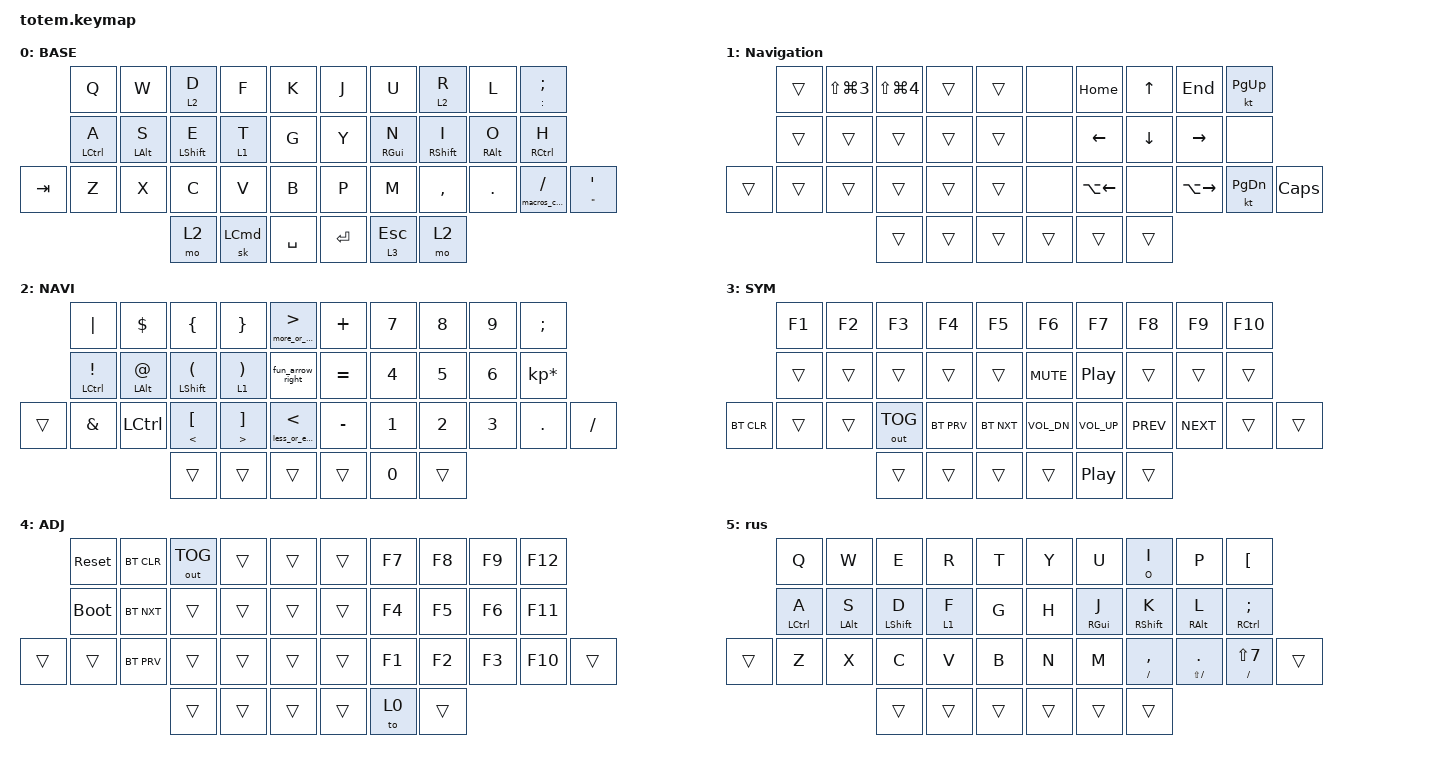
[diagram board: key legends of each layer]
//
//                                                        ▀▀▀▀▀     ▀▀▀▀▀          ▀▀█▀▀
//                                                        ▄▀▀▀▄  ▄  ▄▀▀▀▄  ▄  ▄▀▀▀▄  █  ▄▀▀▀▄
//                                                        █   █  █  █   █  █  █   █  █  █   █
//                                                         ▀▀▀   █   ▀▀▀   █   ▀▀▀   ▀   ▀▀▀
//                                                               █      ▄▄▄█▄▄▄    █   █  
//                                                               ▀      █  █  █     █▄█
//                                                             ▀▀▀▀▀    █  █  █      ▀
//                                                                      ▀  ▀  ▀
//
// ▄▄▄▄▄▄▄▄▄▄▄▄▄▄▄▄▄▄▄▄▄▄▄▄▄▄▄▄▄▄▄▄▄▄▄▄▄▄▄▄▄▄▄▄▄▄▄▄▄▄▄▄▄▄▄▄▄▄▄▄▄▄▄▄▄▄▄▄▄▄▄▄▄▄▄▄▄▄▄▄▄▄▄▄▄▄▄▄▄▄▄▄▄▄▄▄▄▄▄▄▄▄▄▄▄▄▄▄▄▄▄▄▄▄▄▄▄▄▄▄▄▄▄▄▄▄▄▄▄▄▄▄▄▄▄▄▄▄▄▄▄▄▄▄▄▄▄▄▄

#include <behaviors.dtsi>
#include <dt-bindings/zmk/bt.h>
#include <dt-bindings/zmk/keys.h>
#include <dt-bindings/zmk/keys.h>
#include <dt-bindings/zmk/outputs.h>

#define BASE 0
#define NAV  1
#define SYM  2
#define ADJ  3
#define TVP1 4
#define TVP2 5

&mt {
    quick-tap-ms = <100>;
    global-quick-tap;
    flavor = "tap-preferred";
    tapping-term-ms = <170>;
};

/ {
    combos {
        compatible = "zmk,combos";

        combo_esc {
            timeout-ms = <80>;
            key-positions = <0 1>;
            bindings = <&to 4>;
        };

        backspace {
            bindings = <&kp BACKSPACE>;
            key-positions = <16 17>;
            timeout-ms = <70>;
        };

        opt_backspace {
            bindings = <&kp LA(BACKSPACE)>;
            key-positions = <16 17 18>;
            timeout-ms = <70>;
        };

        shift {
            bindings = <&sk LEFT_SHIFT>;
            key-positions = <13 12>;
            timeout-ms = <100>;
        };

        toControl {
            bindings = <&tog 5>;
            key-positions = <32 37>;
        };
    };

    macros {
        more_or_equal: more_or_equal {
            compatible = "zmk,behavior-macro";
            #binding-cells = <0>;
            bindings = <&kp MINUS &kp GT>;
            label = "MORE_OR_EQUAL";
        };

        less_or_equal: less_or_equal {
            compatible = "zmk,behavior-macro";
            #binding-cells = <0>;
            bindings = <&kp LT &kp EQUAL>;
            label = "LESS_OR_EQUAL";
        };

        fun_arrow_right: fun_arrow_right {
            compatible = "zmk,behavior-macro";
            #binding-cells = <0>;
            bindings = <&kp MINUS &kp GT>;
            label = "FUN_ARROW_RIGHT";
        };

        macros_comment: macros_comment {
            compatible = "zmk,behavior-macro";
            #binding-cells = <0>;
            bindings = <&kp FSLH &kp STAR>;
            label = "MACROS_COMMENT";
        };
    };

    behaviors {
        hml: hml {
            compatible = "zmk,behavior-hold-tap";
            label = "HML";
            bindings = <&kp>, <&kp>;

            #binding-cells = <2>;
            tapping-term-ms = <280>;
            quick-tap-ms = <175>;
            require-prior-idle-ms = <150>;
            flavor = "balanced";
            hold-trigger-key-positions = <32 33 34>;
            hold-trigger-on-release;
        };

        hmr: hmr {
            compatible = "zmk,behavior-hold-tap";
            label = "HMR";
            bindings = <&kp>, <&kp>;

            #binding-cells = <2>;
            tapping-term-ms = <280>;
            quick-tap-ms = <175>;
            require-prior-idle-ms = <150>;
            flavor = "balanced";
            hold-trigger-key-positions = <35 36 37>;
            hold-trigger-on-release;
        };

        behavior_slash_or_comment: behavior_slash_or_comment {
            compatible = "zmk,behavior-hold-tap";
            label = "BEHAVIOR_SLASH_OR_COMMENT";
            bindings = <&macros_comment>, <&kp>;

            #binding-cells = <2>;
            tapping-term-ms = <200>;
            flavor = "tap-preferred";
        };

        greater_or_greater_or_equal: greater_or_greater_or_equal {
            compatible = "zmk,behavior-hold-tap";
            label = "GREATER_OR_GREATER_OR_EQUAL";
            bindings = <&more_or_equal>, <&kp>;

            #binding-cells = <2>;
            tapping-term-ms = <200>;
            flavor = "balanced";
        };

        less_or_less_or_equal: less_or_less_or_equal {
            compatible = "zmk,behavior-hold-tap";
            label = "LESS_OR_LESS_OR_EQUAL";
            bindings = <&less_or_equal>, <&kp>;

            #binding-cells = <2>;
            tapping-term-ms = <200>;
            flavor = "balanced";
        };
    };

    keymap {
        compatible = "zmk,keymap";

        Norman {
            label = "BASE";
            bindings = <
         &kp Q                &kp W        &lt 2 D       &kp F             &kp K        &kp J    &kp U             &lt 2 R             &kp L             &mt COLON SEMICOLON
         &hml LEFT_CONTROL A  &hml LALT S  &hml LSHFT E  &lt 1 T           &kp G        &kp Y    &hmr RIGHT_GUI N  &hmr RIGHT_SHIFT I  &hmr RIGHT_ALT O  &hmr RIGHT_CONTROL H
&kp TAB  &kp Z                &kp X        &kp C         &kp V             &kp B        &kp P    &kp M             &kp COMMA           &kp DOT           &behavior_slash_or_comment 0 SLASH  &mt DOUBLE_QUOTES SQT
                                           &mo 2         &sk LEFT_COMMAND  &kp SPACE    &kp RET  &lt 3 ESC         &mo 2
            >;
        };

        Navigation {
            bindings = <
        &trans  &kp LS(LG(NUMBER_3))  &kp LS(LG(NUMBER_4))  &trans  &trans    &none   &kp HOME      &kp UP    &kp END        &kt PAGE_UP
        &trans  &trans                &trans                &trans  &trans    &none   &kp LEFT      &kp DOWN  &kp RIGHT      &none
&trans  &trans  &trans                &trans                &trans  &trans    &none   &kp LA(LEFT)  &none     &kp LA(RIGHT)  &kt PAGE_DOWN  &kp CAPSLOCK
                                      &trans                &trans  &trans    &trans  &trans        &trans
            >;
        };

        digits {
            label = "NAVI";
            bindings = <
        &kp PIPE                       &kp DOLLAR             &kp LEFT_BRACE                    &kp RIGHT_BRACE                 &greater_or_greater_or_equal 0 GREATER_THAN    &kp PLUS   &kp N7        &kp N8        &kp N9        &kp SEMICOLON
        &hml LEFT_CONTROL EXCLAMATION  &hml LEFT_ALT AT_SIGN  &hml LEFT_SHIFT LEFT_PARENTHESIS  &lt 1 RIGHT_PARENTHESIS         &fun_arrow_right                               &kp EQUAL  &kp NUMBER_4  &kp N5        &kp NUMBER_6  &kp KP_MULTIPLY
&trans  &kp AMPERSAND                  &kp LCTRL              &mt LESS_THAN LEFT_BRACKET        &mt GREATER_THAN RIGHT_BRACKET  &less_or_less_or_equal 0 LESS_THAN             &kp MINUS  &kp NUMBER_1  &kp NUMBER_2  &kp NUMBER_3  &kp PERIOD       &kp SLASH
                                                              &trans                            &trans                          &trans                                         &trans     &kp N0        &trans
            >;
        };

        sim_layer {
            label = "SYM";
            bindings = <
            &kp F1  &kp F2  &kp F3        &kp F4      &kp F5        &kp F6        &kp F7        &kp F8      &kp F9      &kp F10
            &trans  &trans  &trans        &trans      &trans        &kp C_MUTE    &kp C_PP      &trans      &trans      &trans
&bt BT_CLR  &trans  &trans  &out OUT_TOG  &bt BT_PRV  &bt BT_NXT    &kp C_VOL_DN  &kp C_VOL_UP  &kp C_PREV  &kp C_NEXT  &trans   &trans
                            &trans        &trans      &trans        &trans        &kp C_PP      &trans
            >;
        };

        adjust_layer {
            label = "ADJ";
            bindings = <
        &sys_reset   &bt BT_CLR  &out OUT_TOG  &trans  &trans    &trans  &kp F7  &kp F8  &kp F9  &kp F12
        &bootloader  &bt BT_NXT  &trans        &trans  &trans    &trans  &kp F4  &kp F5  &kp F6  &kp F11
&trans  &trans       &bt BT_PRV  &trans        &trans  &trans    &trans  &kp F1  &kp F2  &kp F3  &kp F10  &trans
                                 &trans        &trans  &trans    &trans  &to 0   &trans
            >;
        };

        rus {
            bindings = <
        &kp Q                &kp W            &kp E              &kp R    &kp T     &kp Y   &kp U             &mt O I          &kp P                 &kp LEFT_BRACKET
        &hml LEFT_CONTROL A  &hml LEFT_ALT S  &hml LEFT_SHIFT D  &lt 1 F  &kp G     &kp H   &hmr RIGHT_GUI J  &hmr RSHIFT K    &hmr RIGHT_ALT L      &hmr RIGHT_CONTROL SEMICOLON
&trans  &kp Z                &kp X            &kp C              &kp V    &kp B     &kp N   &kp M             &mt SLASH COMMA  &mt LS(SLASH) PERIOD  &mt SLASH LS(N7)              &trans
                                              &trans             &trans   &trans    &trans  &trans            &trans
            >;
        };
    };
};
